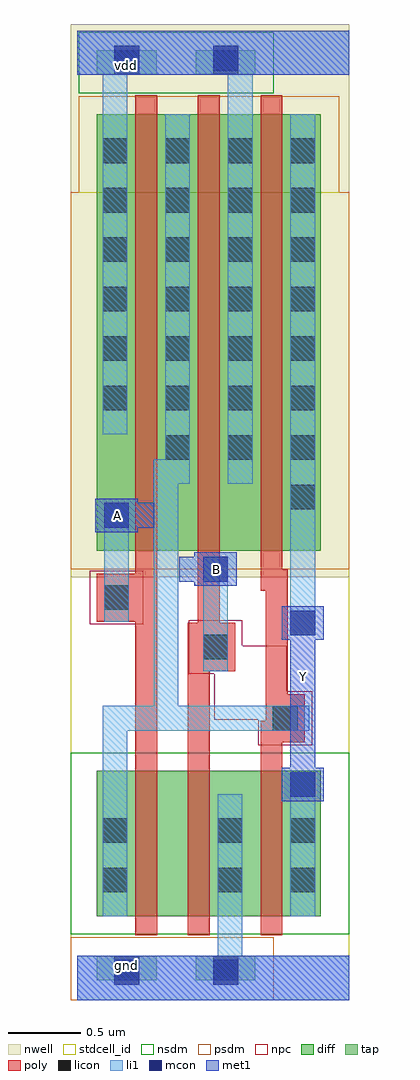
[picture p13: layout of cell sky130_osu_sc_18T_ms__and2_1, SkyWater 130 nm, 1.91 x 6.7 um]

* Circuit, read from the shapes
.subckt sky130_osu_sc_18T_ms__and2_1 A B Y gnd vdd
XM1 n1 A n2 gnd sky130_fd_pr__nfet_01v8 w=1 l=0.15
XM2 gnd B n1 gnd sky130_fd_pr__nfet_01v8 w=1 l=0.15
XM3 Y n2 gnd gnd sky130_fd_pr__nfet_01v8 w=1 l=0.15
XM4 n2 A vdd vdd sky130_fd_pr__pfet_01v8 w=3 l=0.15
XM5 vdd B n2 vdd sky130_fd_pr__pfet_01v8 w=3 l=0.15
XM6 Y n2 vdd vdd sky130_fd_pr__pfet_01v8 w=3 l=0.15
.ends

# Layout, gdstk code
import gdstk
lib = gdstk.Library(unit=1e-6, precision=1e-09)
def R(c, l, rs):  # rectangles x0, y0, x1, y1
    for r in rs: c.add(gdstk.rectangle(r[:2], r[2:], *l))
def A(c, l, x, y, w, h, nx, ny, dx, dy):  # array of equal rectangles
    R(c, l, [(x+i*dx, y+j*dy, x+i*dx+w, y+j*dy+h) for i in range(nx) for j in range(ny)])
nwell = (64, 20)
diff = (65, 20)
tap = (65, 44)
poly = (66, 20)
licon = (66, 44)
li1 = (67, 20)
mcon = (67, 44)
met1 = (68, 20)
stdcell_id = (81, 4)
nsdm = (93, 44)
psdm = (94, 20)
npc = (95, 20)

sky130_osu_sc_18t_ms__an = lib.new_cell('sky130_osu_sc_18T_ms__and2_1')
R(sky130_osu_sc_18t_ms__an, nwell, [(-0.045,2.905,1.87,6.705)])
R(sky130_osu_sc_18t_ms__an, diff, [(0.135,0.575,1.675,1.575), (0.135,3.085,1.675,6.085)])
R(sky130_osu_sc_18t_ms__an, tap, [(0.135,0.135,0.545,0.305), (0.815,0.135,1.225,0.305), (0.135,6.355,0.545,6.525), (0.815,6.355,1.225,6.525)])
R(sky130_osu_sc_18t_ms__an, poly, [(0.4,0.445,0.55,2.6), (0.76,0.445,0.91,2.26), (1.26,0.445,1.41,1.77), (1.26,1.77,1.565,1.92), (1.295,1.92,1.565,2.1), (1.295,2.1,1.445,2.81), (0.76,2.26,1.085,2.59), (0.83,2.59,0.98,6.215), (0.135,2.6,0.55,2.93), (1.26,2.81,1.445,2.96), (0.4,2.93,0.55,6.215), (1.26,2.96,1.41,6.215)])
A(sky130_osu_sc_18t_ms__an, licon, 0.605, 3.71, 0.17, 0.17, 3, 1, 0.43, 0)
A(sky130_osu_sc_18t_ms__an, licon, 0.175, 4.05, 0.17, 0.17, 4, 6, 0.43, 0.34)
R(sky130_osu_sc_18t_ms__an, licon, [(0.255,0.135,0.425,0.305), (0.935,0.135,1.105,0.305), (0.175,0.74,0.345,0.91), (0.965,0.74,1.135,0.91), (1.465,0.74,1.635,0.91), (0.175,1.08,0.345,1.25), (0.965,1.08,1.135,1.25), (1.465,1.08,1.635,1.25), (1.345,1.85,1.515,2.02), (0.865,2.34,1.035,2.51), (0.185,2.68,0.355,2.85), (1.465,3.37,1.635,3.54), (0.255,6.355,0.425,6.525), (0.935,6.355,1.105,6.525)])
R(sky130_osu_sc_18t_ms__an, li1, [(0,0,1.87,0.305), (0.965,0.305,1.135,1.415), (0.175,0.575,0.345,1.85), (1.465,0.575,1.635,1.565), (0.175,1.85,1.595,2.02), (0.525,2.02,0.695,3.545), (0.865,2.26,1.035,3.045), (1.465,2.505,1.635,6.085), (0.185,2.6,0.355,3.415), (0.525,3.545,0.775,3.715), (1.035,3.545,1.205,6.355), (0.605,3.715,0.775,6.085), (0.175,3.885,0.345,6.355), (0,6.355,1.87,6.66)])
R(sky130_osu_sc_18t_ms__an, mcon, [(0.255,0.105,0.425,0.275), (0.935,0.105,1.105,0.275), (1.465,1.395,1.635,1.565), (1.465,2.505,1.635,2.675), (0.865,2.875,1.035,3.045), (0.185,3.245,0.355,3.415), (0.255,6.385,0.425,6.555), (0.935,6.385,1.105,6.555)])
R(sky130_osu_sc_18t_ms__an, met1, [(0,0,1.87,0.305), (1.405,1.365,1.695,1.595), (1.465,1.595,1.635,2.475), (1.405,2.475,1.695,2.705), (0.805,2.845,1.095,2.875), (0.7,2.875,1.095,3.045), (0.805,3.045,1.095,3.075), (0.125,3.215,0.415,3.245), (0.125,3.245,0.525,3.415), (0.125,3.415,0.415,3.445), (0,6.355,1.87,6.66)])
R(sky130_osu_sc_18t_ms__an, stdcell_id, [(-0.045,0,1.87,5.55)])
R(sky130_osu_sc_18t_ms__an, nsdm, [(-0.045,0.45,1.87,1.7), (0.01,6.23,1.35,6.65)])
R(sky130_osu_sc_18t_ms__an, psdm, [(-0.045,0,1.35,0.43), (-0.045,2.96,1.87,5.55), (0.01,5.55,1.8,6.21)])
R(sky130_osu_sc_18t_ms__an, npc, [(1.245,1.75,1.615,1.925), (0.94,1.925,1.615,2.12), (0.94,2.12,1.44,2.24), (0.765,2.24,1.44,2.435), (0.765,2.435,1.135,2.61), (0.085,2.58,0.455,2.95)])
sky130_osu_sc_18t_ms__an.add(gdstk.Label('gnd', (0.34,0.24), layer=68, texttype=16))
sky130_osu_sc_18t_ms__an.add(gdstk.Label('vdd', (0.34,6.42), layer=68, texttype=16))
sky130_osu_sc_18t_ms__an.add(gdstk.Label('Y', (1.555,2.22), layer=68, texttype=5))
sky130_osu_sc_18t_ms__an.add(gdstk.Label('A', (0.275,3.33), layer=68, texttype=5))
sky130_osu_sc_18t_ms__an.add(gdstk.Label('B', (0.955,2.96), layer=68, texttype=5))

lib.write_gds('sky130_osu_sc_18T_ms__and2_1.gds')
